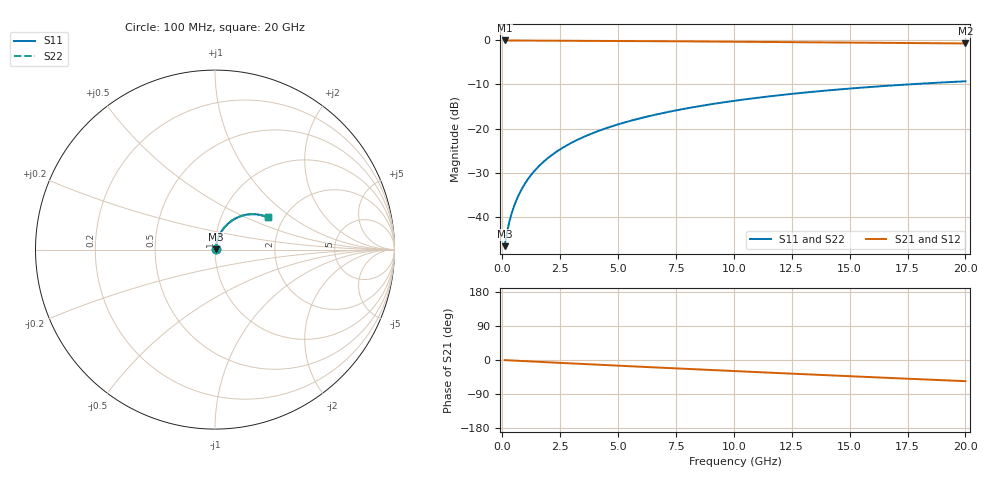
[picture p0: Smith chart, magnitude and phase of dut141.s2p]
! Touchstone file exported from HFSS 2026.1.0
!  File:  C:/ffzhzh/LocalFiles/Ansys_Project_Files/temp_train_BSMRDL_141_1782986420_40604.aedt
!  Generated:  06:01:39 PM Jul  2, 2026
!  Design:  BSMRDL
!  Project:  temp_train_BSMRDL_141_1782986420_40604
! Variables:
!  h_bsmrdl = 5.45um
!  h_ox = 20um
!  h_rdl = 5um
!  h_sub = 80um
!  h_tmrdl = 5um
!  h_tsv = 80um
!  h_via = 3um
!  l_bsmrdl = 950.01um
!  l_sub = 1350.01um
!  l_tmrdl = 200um
!  m_sub = 200um
!  pitch = 31.8um
!  r_tsv = 6um
!  s_tmrdl = 10um
!  w_bsmrdl = 16.8um
!  w_sub = 500um
!  w_tmrdl = 12um
!  x_tsv_center1 = 206um
!  x_tsv_center2 = 1172.81um
!  x_tsv_center3 = 1384.81um
!  x_tsv_center4 = 2351.62um
!  x_tsv_center5 = 2563.62um
!  x_tsv_center6 = 3530.43um
# GHz S MA R 50.000000
! Terminal data exported
! Port[1] = BSM_RDL1_1_T1
! Port[2] = BSM_RDL1_1_T2
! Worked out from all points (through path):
!   200 points, 100 MHz to 20 GHz, reference 50 ohm
!   highest |S21| = -0.03 dB at 100 MHz (marker M1); lowest = -0.7 dB at 20 GHz (marker M2)
!   group delay of S21, straight-line fit = 7.74 ps
!   lowest |S11| = -46.6 dB at 100 MHz (marker M3), VSWR 1.01, Z = 50.4 + j0.27 ohm
!   |S11| at or under -10 dB: start of sweep to 17.49 GHz
!   |S22| runs from -46.6 to -9.3 dB; largest |S21 - S12| = 2.4e-14
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0.1  0.004676 35.0  0.9962 -0.3  0.9962 -0.3  0.004676 35.0
! Gamma 0 0 0 0
! Port Impedance 50 0 50 0
0.2  0.006623 51.5  0.9959 -0.6  0.9959 -0.6  0.006623 51.5
0.3  0.008739 59.6  0.9957 -0.9  0.9957 -0.9  0.008739 59.6
0.4  0.0109 64.6  0.9955 -1.3  0.9955 -1.3  0.01089 64.6
0.5  0.01308 67.9  0.9954 -1.6  0.9954 -1.6  0.01308 67.9
0.6  0.0153 70.3  0.9952 -1.9  0.9952 -1.9  0.0153 70.3
0.8  0.0198 73.3  0.995 -2.5  0.995 -2.5  0.0198 73.3
1.1  0.02663 75.6  0.9946 -3.4  0.9946 -3.4  0.02663 75.6
1.3  0.03121 76.2  0.9942 -4.0  0.9942 -4.0  0.03121 76.2
1.6  0.03807 76.6  0.9937 -4.9  0.9937 -4.9  0.03807 76.6
2.1  0.04942 76.4  0.9926 -6.4  0.9926 -6.4  0.04942 76.4
2.7  0.06284 75.4  0.9911 -8.2  0.9911 -8.2  0.06284 75.4
3.5  0.0803 73.7  0.9887 -10.6  0.9887 -10.6  0.0803 73.7
4.2  0.09519 71.9  0.9865 -12.6  0.9865 -12.6  0.09519 71.9
5  0.1118 69.9  0.9837 -15.0  0.9837 -15.0  0.1118 69.9
5.9  0.1299 67.6  0.9805 -17.6  0.9805 -17.6  0.1299 67.6
6.8  0.1476 65.2  0.9771 -20.1  0.9771 -20.1  0.1476 65.2
8.3  0.1759 61.3  0.9712 -24.4  0.9712 -24.4  0.1759 61.3
10.1  0.208 56.6  0.9638 -29.5  0.9638 -29.5  0.208 56.6
13.4  0.2613 48.1  0.9493 -38.5  0.9493 -38.5  0.2613 48.1
16.7  0.3067 39.7  0.9348 -47.3  0.9348 -47.3  0.3067 39.7
20  0.3437 31.5  0.9214 -55.9  0.9214 -55.9  0.3437 31.4
